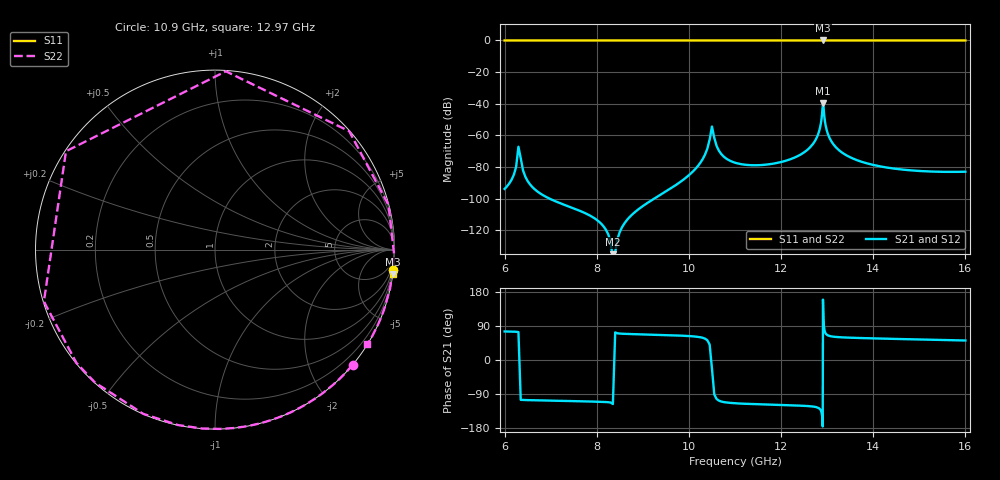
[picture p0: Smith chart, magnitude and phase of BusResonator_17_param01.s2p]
! Sonnet Data File
! From: emgraph Version : 16.54
! From Project: BusResonator_17
! Data is De-embedded
! Data File Written: 08/31/2017 18:33:07
!< HDATE 08/31/2017 16:58:22
!< MDATE 08/31/2017 17:03:00
!< PARAMS
!< BusLengthControl = 100.0
!< END PARAMS
# GHZ S MA R 50.00000
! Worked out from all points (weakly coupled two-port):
!   798 points, 6 GHz to 16 GHz, reference 50 ohm
!   highest |S21| = -39.44 dB at 12.91 GHz (marker M1); lowest = -138.0 dB at 8.35 GHz (marker M2)
!   lowest |S11| = 0.0 dB at 12.91 GHz (marker M3)
!   |S11| at or under -10 dB: nowhere
!   |S22| runs from 0.0 to 0.0 dB; largest |S21 - S12| = 0
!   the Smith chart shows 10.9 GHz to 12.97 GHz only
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6  1 -3.6  2.039e-05 75.3  2.039e-05 75.3  1 -25.8
!< P1 F=6.0 Eeff=(6.44857038 -2.9736e-5) Z0=(51.7893065 1.19468e-4) R=0.05083541 C=0.00240605
!< P2 F=6.0 Eeff=(6.44857038 -2.9736e-5) Z0=(51.7893065 1.19468e-4) R=0.05083541 C=0.00240605
7.7  1 -4.6  3.757e-06 -109.1  3.757e-06 -109.1  1 -33.3
8.35  1 -5.0  1.265e-07 -116.3  1.265e-07 -116.3  1 -36.4
9.35  1 -5.6  1.243e-05 66.3  1.243e-05 66.3  1 -41.8
10.1  1 -6.1  7.565e-05 62.3  7.565e-05 62.3  1 -49.4
10.3  1 -6.2  0.0001797 58.6  0.0001797 58.6  1 -56.7
10.5  1 -6.3  0.001904 -23.0  0.001904 -23.0  1 140.4
10.7  1 -6.4  0.0002594 -109.5  0.0002594 -109.5  1 -32.5
11  1 -6.6  0.0001373 -114.2  0.0001373 -114.2  1 -41.7
11.95  1 -7.2  0.0001385 -118.5  0.0001385 -118.5  1 -49.9
12.66681  1 -7.6  0.0004831 -122.5  0.0004831 -122.5  1 -57.4
12.82456  1 -7.7  0.001342 -127.5  0.001342 -127.5  0.9999 -67.3
12.87711  1 -7.8  0.003267 -138.1  0.003267 -138.1  0.9995 -88.3
12.89814  1 -7.8  0.006873 -160.0  0.006873 -160.0  0.9978 -132.1
12.9094  0.9999 -7.8  0.01066 159.4  0.01066 159.4  0.9947 146.6
12.92731  1 -7.8  0.006064 93.4  0.006064 93.4  0.9983 14.4
12.94651  1 -7.8  0.00318 76.3  0.00318 76.3  0.9995 -19.6
12.97428  1 -7.8  0.001833 68.9  0.001833 68.9  0.9998 -34.4
13.05608  1 -7.9  0.0008069 63.2  0.0008069 63.2  1 -45.7
13.4  1 -8.1  0.0002431 59.3  0.0002431 59.3  1 -53.3
14.35  1 -8.6  9.382e-05 56.0  9.382e-05 56.0  1 -59.4
16  1 -9.6  7.126e-05 51.5  7.126e-05 51.5  1 -67.4
